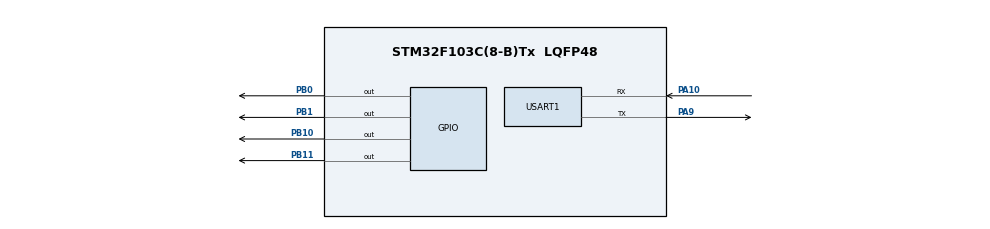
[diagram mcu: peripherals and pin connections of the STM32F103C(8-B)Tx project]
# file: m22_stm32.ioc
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Mcu.Family=STM32F1
Mcu.Name=STM32F103C(8-B)Tx
Mcu.Package=LQFP48
NVIC.PriorityGroup=NVIC_PRIORITYGROUP_4
PA10.Mode=Asynchronous
PA10.Signal=USART1_RX
PA13.Mode=Serial_Wire
PA13.Signal=SYS_JTMS-SWDIO
PA14.Mode=Serial_Wire
PA14.Signal=SYS_JTCK-SWCLK
PA9.Mode=Asynchronous
PA9.Signal=USART1_TX
PB0.Signal=GPIO_Output
PB1.Signal=GPIO_Output
PB10.Signal=GPIO_Output
PB11.Signal=GPIO_Output
PD0-OSC_IN.Mode=HSE-External-Oscillator
PD0-OSC_IN.Signal=RCC_OSC_IN
PD1-OSC_OUT.Mode=HSE-External-Oscillator
PD1-OSC_OUT.Signal=RCC_OSC_OUT
ProjectManager.HeapSize=0x200
ProjectManager.StackSize=0x400
ProjectManager.TargetToolchain=MDK-ARM V5.32
RCC.AHBFreq_Value=36000000
RCC.APB1CLKDivider=RCC_HCLK_DIV2
RCC.APB1Freq_Value=18000000
RCC.APB1TimFreq_Value=36000000
RCC.APB2Freq_Value=36000000
RCC.APB2TimFreq_Value=36000000
RCC.HCLKFreq_Value=36000000
RCC.PLLMUL=RCC_PLL_MUL9
RCC.SYSCLKFreq_VALUE=36000000
RCC.SYSCLKSource=RCC_SYSCLKSOURCE_PLLCLK
RCC.USBFreq_Value=36000000
USART1.VirtualMode=VM_ASYNC
board=custom

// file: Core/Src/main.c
/* USER CODE BEGIN Header */
/**
  ******************************************************************************
  * @file           : main.c
  * @brief          : Main program body
  ******************************************************************************
  * @attention
  *
  * <h2><center>&copy; Copyright (c) 2021 STMicroelectronics.
  * All rights reserved.</center></h2>
  *
  * This software component is licensed by ST under BSD 3-Clause license,
  * the "License"; You may not use this file except in compliance with the
  * License. You may obtain a copy of the License at:
  *                        opensource.org/licenses/BSD-3-Clause
  *
  ******************************************************************************
  */
/* USER CODE END Header */
#include "main.h"

/* USER CODE BEGIN Includes */
#include <stdio.h>
#include <stdlib.h>
#include <string.h>
/* USER CODE END Includes */

/* USER CODE BEGIN PV */
#define LED4_ON() LL_GPIO_SetOutputPin(GPIOB, LL_GPIO_PIN_0)
#define LED4_OFF() LL_GPIO_ResetOutputPin(GPIOB, LL_GPIO_PIN_0)
#define LED3_ON() LL_GPIO_SetOutputPin(GPIOB, LL_GPIO_PIN_1)
#define LED3_OFF() LL_GPIO_ResetOutputPin(GPIOB, LL_GPIO_PIN_1)
#define LED2_ON() LL_GPIO_SetOutputPin(GPIOB, LL_GPIO_PIN_10)
#define LED2_OFF() LL_GPIO_ResetOutputPin(GPIOB, LL_GPIO_PIN_10)
#define LED1_ON() LL_GPIO_SetOutputPin(GPIOB, LL_GPIO_PIN_11)
#define LED1_OFF() LL_GPIO_ResetOutputPin(GPIOB, LL_GPIO_PIN_11)
char rx_str[30], tx_str[30], tmp_str[10];
/* USER CODE END PV */

void SystemClock_Config(void);
static void MX_GPIO_Init(void);
static void MX_USART1_UART_Init(void);

/* USER CODE BEGIN 0 */
//--------------------------------------------------------
void USART_TX (uint8_t* dt, uint16_t sz)
{
	uint16_t ind = 0;
	while (ind<sz)
  {
		while (!LL_USART_IsActiveFlag_TXE(USART1)) {}
		LL_USART_TransmitData8(USART1,*(uint8_t*)(dt+ind));
    ind++;
  }
}
//--------------------------------------------------------
void controlUSART(uint8_t* rx_dt){
	char cmd[30];
	sprintf(cmd, "%s",(uint8_t*)rx_dt);
	//USART_TX(cmd, strlen(cmd));
	if(strcmp(cmd, "led1_on")==0){
		//USART_TX(cmd, strlen(cmd));
		LED1_ON();
	}else if(strcmp(cmd, "led1_off")==0){
		LED1_OFF();
	}
}
//--------------------------------------------------------
uint16_t USART_RX_TX_Str (uint8_t* tx_dt, uint8_t* rx_dt)
{
  uint16_t ind = 0;
	while (!LL_USART_IsActiveFlag_RXNE(USART1)) {}
  rx_dt[ind] = (uint8_t)(USART1->DR & 0x00FF);
	while (!LL_USART_IsActiveFlag_TXE(USART1)) {}
  LL_USART_TransmitData8(USART1,*(uint8_t*)(tx_dt+ind));
	while(rx_dt[ind])
  {
		ind++;
		while (!LL_USART_IsActiveFlag_RXNE(USART1)) {}
		rx_dt[ind] = (uint8_t)(USART1->DR & 0x00FF);
		while (!LL_USART_IsActiveFlag_TXE(USART1)) {}
		LL_USART_TransmitData8(USART1,*(uint8_t*)(tx_dt+ind));
  }
	return ind;
}
//--------------------------------------------------------
uint16_t USART_RX_Str (uint8_t* rx_dt)
{
  uint16_t ind = 0;
	//if(LL_USART_IsActiveFlag_RXNE(USART1)){
		while (!LL_USART_IsActiveFlag_RXNE(USART1)) {}
		rx_dt[ind] = (uint8_t)(USART1->DR & 0x00FF);
		while(rx_dt[ind])
		{
			ind++;
			while (!LL_USART_IsActiveFlag_RXNE(USART1)) {}
			rx_dt[ind] = (uint8_t)(USART1->DR & 0x00FF);
		}
	//}
	return ind;
}
//--------------------------------------------------------
/* USER CODE END 0 */

int main(void)
{
  /* USER CODE BEGIN 1 */
	uint16_t i=0;
  /* USER CODE END 1 */

  /* MCU Configuration--------------------------------------------------------*/

  /* Reset of all peripherals, Initializes the Flash interface and the Systick. */

  LL_APB2_GRP1_EnableClock(LL_APB2_GRP1_PERIPH_AFIO);
  LL_APB1_GRP1_EnableClock(LL_APB1_GRP1_PERIPH_PWR);

  NVIC_SetPriorityGrouping(NVIC_PRIORITYGROUP_4);

  /* System interrupt init*/
  /* SysTick_IRQn interrupt configuration */
  NVIC_SetPriority(SysTick_IRQn, NVIC_EncodePriority(NVIC_GetPriorityGrouping(),15, 0));

  /** NOJTAG: JTAG-DP Disabled and SW-DP Enabled
  */
  LL_GPIO_AF_Remap_SWJ_NOJTAG();

  /* Configure the system clock */
  SystemClock_Config();

  /* Initialize all configured peripherals */
  MX_GPIO_Init();
  MX_USART1_UART_Init();
  /* USER CODE BEGIN 2 */
	LED1_OFF();LED2_OFF();LED3_OFF();LED4_OFF();
  /* USER CODE END 2 */

  /* Infinite loop */
  while (1)
  {

    /* USER CODE BEGIN 3 */
		/*
		LED1_ON();
    LL_mDelay(100);
    LED1_OFF();
		LL_mDelay(100);
		*/
    LED2_ON();
    LL_mDelay(100);
    LED2_OFF();
    LED3_ON();
    LL_mDelay(100);
    LED3_OFF();
    LED4_ON();
    LL_mDelay(100);
    LED4_OFF();

		//sprintf(tx_str,"String  %04d\r\n",1023-i);
		sprintf(tx_str, "%s",(uint8_t*)rx_str);
		//USART_RX_TX_Str((uint8_t*)tx_str,(uint8_t*)rx_str);
		USART_RX_Str((uint8_t*)rx_str);
		USART_TX((uint8_t*)tx_str, strlen(tx_str));
		char cmd[30];
		sprintf(cmd, "%s",(uint8_t*)rx_str);
		if(strncmp(cmd, "led1_on", 7)==0){
			LED1_ON();
		}
		if(strncmp(cmd, "led1_off", 8)==0){
			LED1_OFF();
		}

		//controlUSART((uint8_t*)rx_str);
		//strncpy(tmp_str,rx_str+7,4);
		//i=atoi (tmp_str);
  }
  /* USER CODE END 3 */
}

void SystemClock_Config(void)
{
  LL_FLASH_SetLatency(LL_FLASH_LATENCY_1);
  while(LL_FLASH_GetLatency()!= LL_FLASH_LATENCY_1)
  {
  }
  LL_RCC_HSI_SetCalibTrimming(16);
  LL_RCC_HSI_Enable();

   /* Wait till HSI is ready */
  while(LL_RCC_HSI_IsReady() != 1)
  {

  }
  LL_RCC_PLL_ConfigDomain_SYS(LL_RCC_PLLSOURCE_HSI_DIV_2, LL_RCC_PLL_MUL_9);
  LL_RCC_PLL_Enable();

   /* Wait till PLL is ready */
  while(LL_RCC_PLL_IsReady() != 1)
  {

  }
  LL_RCC_SetAHBPrescaler(LL_RCC_SYSCLK_DIV_1);
  LL_RCC_SetAPB1Prescaler(LL_RCC_APB1_DIV_2);
  LL_RCC_SetAPB2Prescaler(LL_RCC_APB2_DIV_1);
  LL_RCC_SetSysClkSource(LL_RCC_SYS_CLKSOURCE_PLL);

   /* Wait till System clock is ready */
  while(LL_RCC_GetSysClkSource() != LL_RCC_SYS_CLKSOURCE_STATUS_PLL)
  {

  }
  LL_Init1msTick(36000000);
  LL_SetSystemCoreClock(36000000);
}

static void MX_USART1_UART_Init(void)
{

  LL_USART_InitTypeDef USART_InitStruct = {0};

  LL_GPIO_InitTypeDef GPIO_InitStruct = {0};

  /* Peripheral clock enable */
  LL_APB2_GRP1_EnableClock(LL_APB2_GRP1_PERIPH_USART1);

  LL_APB2_GRP1_EnableClock(LL_APB2_GRP1_PERIPH_GPIOA);
  /**USART1 GPIO Configuration
  PA9   ------> USART1_TX
  PA10   ------> USART1_RX
  */
  GPIO_InitStruct.Pin = LL_GPIO_PIN_9;
  GPIO_InitStruct.Mode = LL_GPIO_MODE_ALTERNATE;
  GPIO_InitStruct.Speed = LL_GPIO_SPEED_FREQ_HIGH;
  GPIO_InitStruct.OutputType = LL_GPIO_OUTPUT_PUSHPULL;
  LL_GPIO_Init(GPIOA, &GPIO_InitStruct);

  GPIO_InitStruct.Pin = LL_GPIO_PIN_10;
  GPIO_InitStruct.Mode = LL_GPIO_MODE_FLOATING;
  LL_GPIO_Init(GPIOA, &GPIO_InitStruct);

  USART_InitStruct.BaudRate = 115200;
  USART_InitStruct.DataWidth = LL_USART_DATAWIDTH_8B;
  USART_InitStruct.StopBits = LL_USART_STOPBITS_1;
  USART_InitStruct.Parity = LL_USART_PARITY_NONE;
  USART_InitStruct.TransferDirection = LL_USART_DIRECTION_TX_RX;
  USART_InitStruct.HardwareFlowControl = LL_USART_HWCONTROL_NONE;
  USART_InitStruct.OverSampling = LL_USART_OVERSAMPLING_16;
  LL_USART_Init(USART1, &USART_InitStruct);
  LL_USART_ConfigAsyncMode(USART1);
  LL_USART_Enable(USART1);

}

static void MX_GPIO_Init(void)
{
  LL_GPIO_InitTypeDef GPIO_InitStruct = {0};

  /* GPIO Ports Clock Enable */
  LL_APB2_GRP1_EnableClock(LL_APB2_GRP1_PERIPH_GPIOD);
  LL_APB2_GRP1_EnableClock(LL_APB2_GRP1_PERIPH_GPIOB);
  LL_APB2_GRP1_EnableClock(LL_APB2_GRP1_PERIPH_GPIOA);

  /**/
  LL_GPIO_ResetOutputPin(GPIOB, LL_GPIO_PIN_0|LL_GPIO_PIN_1|LL_GPIO_PIN_10|LL_GPIO_PIN_11);

  /**/
  GPIO_InitStruct.Pin = LL_GPIO_PIN_0|LL_GPIO_PIN_1|LL_GPIO_PIN_10|LL_GPIO_PIN_11;
  GPIO_InitStruct.Mode = LL_GPIO_MODE_OUTPUT;
  GPIO_InitStruct.Speed = LL_GPIO_SPEED_FREQ_LOW;
  GPIO_InitStruct.OutputType = LL_GPIO_OUTPUT_PUSHPULL;
  LL_GPIO_Init(GPIOB, &GPIO_InitStruct);

}

void Error_Handler(void)
{
  __disable_irq();
  while (1)
  {
  }
}

/************************ (C) COPYRIGHT STMicroelectronics *****END OF FILE****/
